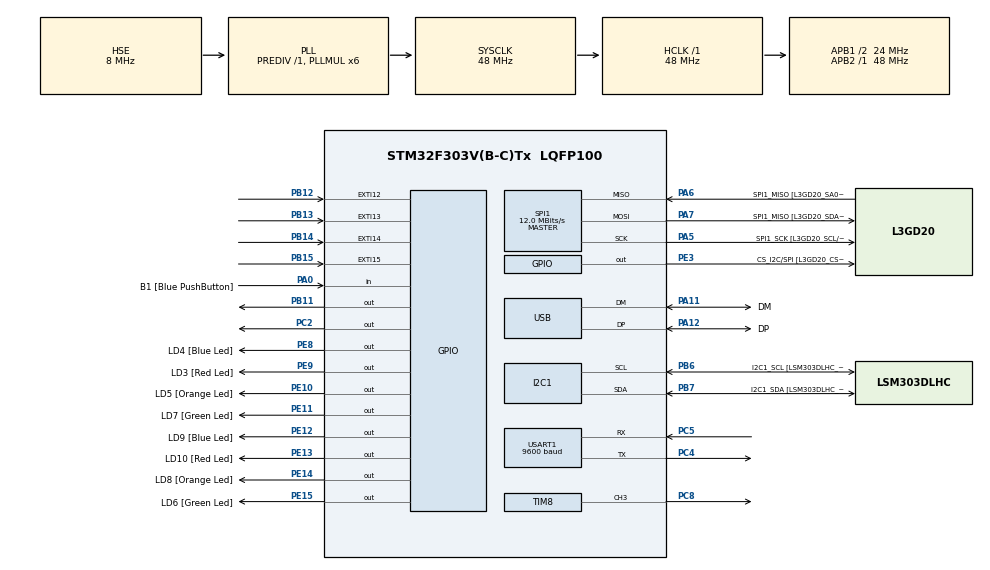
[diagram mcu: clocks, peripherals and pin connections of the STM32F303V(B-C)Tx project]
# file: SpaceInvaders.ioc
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I2C1.Timing-I2C=0x2000090E
Mcu.Family=STM32F3
Mcu.Name=STM32F303V(B-C)Tx
Mcu.Package=LQFP100
NVIC.EXTI15_10_IRQn=true\:0\:0\:true\:false\:true\:true\:true\:true
NVIC.PriorityGroup=NVIC_PRIORITYGROUP_1
NVIC.TIM2_IRQn=true\:1\:0\:true\:false\:true\:true\:true\:true
NVIC.USART1_IRQn=true\:0\:0\:true\:false\:true\:true\:true\:true
PA0.GPIO_Label=B1 [Blue PushButton]
PA0.Signal=GPIO_Input
PA11.GPIO_Label=DM
PA11.Mode=Device
PA11.Signal=USB_DM
PA12.GPIO_Label=DP
PA12.Mode=Device
PA12.Signal=USB_DP
PA13.GPIO_Label=SWDIO
PA13.Mode=Serial_Wire
PA13.Signal=SYS_JTMS-SWDIO
PA14.GPIO_Label=SWCLK
PA14.Mode=Serial_Wire
PA14.Signal=SYS_JTCK-SWCLK
PA5.GPIO_Label=SPI1_SCK [L3GD20_SCL/SPC]
PA5.Mode=Full_Duplex_Master
PA5.Signal=SPI1_SCK
PA6.GPIO_Label=SPI1_MISO [L3GD20_SA0/SDO]
PA6.Mode=Full_Duplex_Master
PA6.Signal=SPI1_MISO
PA7.GPIO_Label=SPI1_MISO [L3GD20_SDA/SDI/SDO]
PA7.Mode=Full_Duplex_Master
PA7.Signal=SPI1_MOSI
PB11.Signal=GPIO_Output
PB12.GPIO_ModeDefaultEXTI=GPIO_MODE_IT_RISING
PB12.GPIO_PuPd=GPIO_PULLDOWN
PB12.Signal=GPXTI12
PB13.GPIO_ModeDefaultEXTI=GPIO_MODE_IT_RISING
PB13.GPIO_PuPd=GPIO_PULLDOWN
PB13.Signal=GPXTI13
PB14.GPIO_ModeDefaultEXTI=GPIO_MODE_IT_RISING
PB14.GPIO_PuPd=GPIO_PULLDOWN
PB14.Signal=GPXTI14
PB15.GPIO_ModeDefaultEXTI=GPIO_MODE_IT_RISING
PB15.GPIO_PuPd=GPIO_PULLDOWN
PB15.Signal=GPXTI15
PB3.GPIO_Label=SWO
PB3.Signal=SYS_JTDO-TRACESWO
PB6.GPIO_Label=I2C1_SCL [LSM303DLHC_SCL]
PB6.GPIO_Pu=GPIO_PULLUP
PB6.Mode=I2C
PB6.Signal=I2C1_SCL
PB7.GPIO_Label=I2C1_SDA [LSM303DLHC_SDA]
PB7.GPIO_Pu=GPIO_PULLUP
PB7.Mode=I2C
PB7.Signal=I2C1_SDA
PC14-OSC32_IN.GPIO_Label=OSC32_IN
PC14-OSC32_IN.Signal=RCC_OSC32_IN
PC15-OSC32_OUT.GPIO_Label=OSC32_OUT
PC15-OSC32_OUT.Signal=RCC_OSC32_OUT
PC2.Signal=GPIO_Output
PC4.Mode=Asynchronous
PC4.Signal=USART1_TX
PC5.Mode=Asynchronous
PC5.Signal=USART1_RX
PC8.Signal=S_TIM8_CH3
PE10.GPIO_Label=LD5 [Orange Led]
PE10.Signal=GPIO_Output
PE11.GPIO_Label=LD7 [Green Led]
PE11.Signal=GPIO_Output
PE12.GPIO_Label=LD9 [Blue Led]
PE12.Signal=GPIO_Output
PE13.GPIO_Label=LD10 [Red Led]
PE13.Signal=GPIO_Output
PE14.GPIO_Label=LD8 [Orange Led]
PE14.Signal=GPIO_Output
PE15.GPIO_Label=LD6 [Green Led]
PE15.Signal=GPIO_Output
PE3.GPIO_Label=CS_I2C/SPI [L3GD20_CS_I2C/SPI]
PE3.Signal=GPIO_Output
PE8.GPIO_Label=LD4 [Blue Led]
PE8.Signal=GPIO_Output
PE9.GPIO_Label=LD3 [Red Led]
PE9.Signal=GPIO_Output
PF0-OSC_IN.GPIO_Label=OSC_IN
PF0-OSC_IN.Mode=HSE-External-Clock-Source
PF0-OSC_IN.Signal=RCC_OSC_IN
PF1-OSC_OUT.GPIO_Label=OSC_OUT
PF1-OSC_OUT.Signal=RCC_OSC_OUT
ProjectManager.HeapSize=0x200
ProjectManager.StackSize=0x400
ProjectManager.TargetToolchain=STM32CubeIDE
RCC.AHBFreq_Value=48000000
RCC.APB1CLKDivider=RCC_HCLK_DIV2
RCC.APB1Freq_Value=24000000
RCC.APB1TimFreq_Value=48000000
RCC.APB2Freq_Value=48000000
RCC.APB2TimFreq_Value=48000000
RCC.CortexFreq_Value=48000000
RCC.HCLKFreq_Value=48000000
RCC.HSE_VALUE=8000000
RCC.HSI_VALUE=8000000
RCC.LSE_VALUE=32768
RCC.PLLMUL=RCC_PLL_MUL6
RCC.SYSCLKFreq_VALUE=48000000
RCC.SYSCLKSourceVirtual=RCC_SYSCLKSOURCE_PLLCLK
RCC.USBFreq_Value=48000000
RTC.AsynchPrediv=39
RTC.Format=RTC_FORMAT_BIN
RTC.SynchPrediv=999
RTC.WeekDay=RTC_WEEKDAY_SATURDAY
SH.S_TIM8_CH3.0=TIM8_CH3,PWM Generation3 CH3
SPI1.BaudRatePrescaler=SPI_BAUDRATEPRESCALER_4
SPI1.BaudRatePrescaler-Full_Duplex_Master=SPI_BAUDRATEPRESCALER_2
SPI1.CalculateBaudRate=12.0 MBits/s
SPI1.CalculateBaudRate-Full_Duplex_Master=24.0 MBits/s
SPI1.Direction=SPI_DIRECTION_2LINES
SPI1.Mode=SPI_MODE_MASTER
SPI1.Mode-Full_Duplex_Master=SPI_MODE_MASTER
SPI1.VirtualType=VM_MASTER
TIM2.Period=2399
TIM2.Prescaler=9999
TIM8.Channel-PWM\ Generation3\ CH3=TIM_CHANNEL_3
TIM8.Period=11
TIM8.Prescaler=9999
USART1.BaudRate=9600
USART1.VirtualMode-Asynchronous=VM_ASYNC
VP_RTC_VS_RTC_Activate.Mode=RTC_Enabled
VP_RTC_VS_RTC_Calendar.Mode=RTC_Calendar
VP_TIM2_VS_ClockSourceINT.Mode=Internal
VP_TIM8_VS_ClockSourceINT.Mode=Internal
board=STM32F3DISCOVERY

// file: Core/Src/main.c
/* USER CODE BEGIN Header */
/**
  ******************************************************************************
  * @file           : main.c
  * @brief          : Main program body
  ******************************************************************************
  * @attention
  *
  * Copyright (c) 2023 STMicroelectronics.
  * All rights reserved.
  *
  * This software is licensed under terms that can be found in the LICENSE file
  * in the root directory of this software component.
  * If no LICENSE file comes with this software, it is provided AS-IS.
  *
  ******************************************************************************
  */
/* USER CODE END Header */
#include "main.h"

/* USER CODE BEGIN Includes */
#include "LCD.h"
#include "UART.h"
#include "Keypad.h"
#include "RTC.h"
#include "Buzzer.h"
/* USER CODE END Includes */

I2C_HandleTypeDef hi2c1;

RTC_HandleTypeDef hrtc;

SPI_HandleTypeDef hspi1;

TIM_HandleTypeDef htim2;
TIM_HandleTypeDef htim8;

UART_HandleTypeDef huart1;

PCD_HandleTypeDef hpcd_USB_FS;

void SystemClock_Config(void);
static void MX_GPIO_Init(void);
static void MX_I2C1_Init(void);
static void MX_SPI1_Init(void);
static void MX_USB_PCD_Init(void);
static void MX_TIM2_Init(void);
static void MX_USART1_UART_Init(void);
static void MX_RTC_Init(void);
static void MX_TIM8_Init(void);

/* USER CODE BEGIN 0 */
void HAL_UART_RxCpltCallback(UART_HandleTypeDef *huart) {
  UART_OnCallback();
}

void HAL_GPIO_EXTI_Callback(uint16_t GPIO_Pin) {
  Keypad_OnInterrupt(GPIO_Pin);
}
/* USER CODE END 0 */

int main(void)
{

  /* MCU Configuration--------------------------------------------------------*/

  /* Reset of all peripherals, Initializes the Flash interface and the Systick. */
  HAL_Init();

  /* Configure the system clock */
  SystemClock_Config();

  /* Initialize all configured peripherals */
  MX_GPIO_Init();
  MX_I2C1_Init();
  MX_SPI1_Init();
  MX_USB_PCD_Init();
  MX_TIM2_Init();
  MX_USART1_UART_Init();
  MX_RTC_Init();
  MX_TIM8_Init();
  /* USER CODE BEGIN 2 */
  LCD_Init();
  Keypad_Init();
  RTC_Init();
  UART_Init();
  BuzzerInit();
  HAL_TIM_Base_Start_IT(&htim2);
  /* USER CODE END 2 */

  /* Infinite loop */
  while (1)
  {

  }
}

void SystemClock_Config(void)
{
  RCC_OscInitTypeDef RCC_OscInitStruct = {0};
  RCC_ClkInitTypeDef RCC_ClkInitStruct = {0};
  RCC_PeriphCLKInitTypeDef PeriphClkInit = {0};

  /** Initializes the RCC Oscillators according to the specified parameters
  * in the RCC_OscInitTypeDef structure.
  */
  RCC_OscInitStruct.OscillatorType = RCC_OSCILLATORTYPE_HSI|RCC_OSCILLATORTYPE_LSI
                              |RCC_OSCILLATORTYPE_HSE;
  RCC_OscInitStruct.HSEState = RCC_HSE_BYPASS;
  RCC_OscInitStruct.HSEPredivValue = RCC_HSE_PREDIV_DIV1;
  RCC_OscInitStruct.HSIState = RCC_HSI_ON;
  RCC_OscInitStruct.HSICalibrationValue = RCC_HSICALIBRATION_DEFAULT;
  RCC_OscInitStruct.LSIState = RCC_LSI_ON;
  RCC_OscInitStruct.PLL.PLLState = RCC_PLL_ON;
  RCC_OscInitStruct.PLL.PLLSource = RCC_PLLSOURCE_HSE;
  RCC_OscInitStruct.PLL.PLLMUL = RCC_PLL_MUL6;
  if (HAL_RCC_OscConfig(&RCC_OscInitStruct) != HAL_OK)
  {
    Error_Handler();
  }

  /** Initializes the CPU, AHB and APB buses clocks
  */
  RCC_ClkInitStruct.ClockType = RCC_CLOCKTYPE_HCLK|RCC_CLOCKTYPE_SYSCLK
                              |RCC_CLOCKTYPE_PCLK1|RCC_CLOCKTYPE_PCLK2;
  RCC_ClkInitStruct.SYSCLKSource = RCC_SYSCLKSOURCE_PLLCLK;
  RCC_ClkInitStruct.AHBCLKDivider = RCC_SYSCLK_DIV1;
  RCC_ClkInitStruct.APB1CLKDivider = RCC_HCLK_DIV2;
  RCC_ClkInitStruct.APB2CLKDivider = RCC_HCLK_DIV1;

  if (HAL_RCC_ClockConfig(&RCC_ClkInitStruct, FLASH_LATENCY_1) != HAL_OK)
  {
    Error_Handler();
  }
  PeriphClkInit.PeriphClockSelection = RCC_PERIPHCLK_USB|RCC_PERIPHCLK_USART1
                              |RCC_PERIPHCLK_I2C1|RCC_PERIPHCLK_RTC
                              |RCC_PERIPHCLK_TIM8;
  PeriphClkInit.Usart1ClockSelection = RCC_USART1CLKSOURCE_PCLK2;
  PeriphClkInit.I2c1ClockSelection = RCC_I2C1CLKSOURCE_HSI;
  PeriphClkInit.RTCClockSelection = RCC_RTCCLKSOURCE_LSI;
  PeriphClkInit.USBClockSelection = RCC_USBCLKSOURCE_PLL;
  PeriphClkInit.Tim8ClockSelection = RCC_TIM8CLK_HCLK;
  if (HAL_RCCEx_PeriphCLKConfig(&PeriphClkInit) != HAL_OK)
  {
    Error_Handler();
  }
}

static void MX_I2C1_Init(void)
{

  hi2c1.Instance = I2C1;
  hi2c1.Init.Timing = 0x2000090E;
  hi2c1.Init.OwnAddress1 = 0;
  hi2c1.Init.AddressingMode = I2C_ADDRESSINGMODE_7BIT;
  hi2c1.Init.DualAddressMode = I2C_DUALADDRESS_DISABLE;
  hi2c1.Init.OwnAddress2 = 0;
  hi2c1.Init.OwnAddress2Masks = I2C_OA2_NOMASK;
  hi2c1.Init.GeneralCallMode = I2C_GENERALCALL_DISABLE;
  hi2c1.Init.NoStretchMode = I2C_NOSTRETCH_DISABLE;
  if (HAL_I2C_Init(&hi2c1) != HAL_OK)
  {
    Error_Handler();
  }

  /** Configure Analogue filter
  */
  if (HAL_I2CEx_ConfigAnalogFilter(&hi2c1, I2C_ANALOGFILTER_ENABLE) != HAL_OK)
  {
    Error_Handler();
  }

  /** Configure Digital filter
  */
  if (HAL_I2CEx_ConfigDigitalFilter(&hi2c1, 0) != HAL_OK)
  {
    Error_Handler();
  }

}

static void MX_RTC_Init(void)
{

  RTC_TimeTypeDef sTime = {0};
  RTC_DateTypeDef sDate = {0};

  /** Initialize RTC Only
  */
  hrtc.Instance = RTC;
  hrtc.Init.HourFormat = RTC_HOURFORMAT_24;
  hrtc.Init.AsynchPrediv = 39;
  hrtc.Init.SynchPrediv = 999;
  hrtc.Init.OutPut = RTC_OUTPUT_DISABLE;
  hrtc.Init.OutPutPolarity = RTC_OUTPUT_POLARITY_HIGH;
  hrtc.Init.OutPutType = RTC_OUTPUT_TYPE_OPENDRAIN;
  if (HAL_RTC_Init(&hrtc) != HAL_OK)
  {
    Error_Handler();
  }

  /** Initialize RTC and set the Time and Date
  */
  sTime.Hours = 0;
  sTime.Minutes = 0;
  sTime.Seconds = 0;
  sTime.DayLightSaving = RTC_DAYLIGHTSAVING_NONE;
  sTime.StoreOperation = RTC_STOREOPERATION_RESET;
  if (HAL_RTC_SetTime(&hrtc, &sTime, RTC_FORMAT_BIN) != HAL_OK)
  {
    Error_Handler();
  }
  sDate.WeekDay = RTC_WEEKDAY_SATURDAY;
  sDate.Month = RTC_MONTH_JANUARY;
  sDate.Date = 1;
  sDate.Year = 0;

  if (HAL_RTC_SetDate(&hrtc, &sDate, RTC_FORMAT_BIN) != HAL_OK)
  {
    Error_Handler();
  }

}

static void MX_SPI1_Init(void)
{

  /* SPI1 parameter configuration*/
  hspi1.Instance = SPI1;
  hspi1.Init.Mode = SPI_MODE_MASTER;
  hspi1.Init.Direction = SPI_DIRECTION_2LINES;
  hspi1.Init.DataSize = SPI_DATASIZE_4BIT;
  hspi1.Init.CLKPolarity = SPI_POLARITY_LOW;
  hspi1.Init.CLKPhase = SPI_PHASE_1EDGE;
  hspi1.Init.NSS = SPI_NSS_SOFT;
  hspi1.Init.BaudRatePrescaler = SPI_BAUDRATEPRESCALER_4;
  hspi1.Init.FirstBit = SPI_FIRSTBIT_MSB;
  hspi1.Init.TIMode = SPI_TIMODE_DISABLE;
  hspi1.Init.CRCCalculation = SPI_CRCCALCULATION_DISABLE;
  hspi1.Init.CRCPolynomial = 7;
  hspi1.Init.CRCLength = SPI_CRC_LENGTH_DATASIZE;
  hspi1.Init.NSSPMode = SPI_NSS_PULSE_ENABLE;
  if (HAL_SPI_Init(&hspi1) != HAL_OK)
  {
    Error_Handler();
  }

}

static void MX_TIM2_Init(void)
{

  TIM_ClockConfigTypeDef sClockSourceConfig = {0};
  TIM_MasterConfigTypeDef sMasterConfig = {0};

  htim2.Instance = TIM2;
  htim2.Init.Prescaler = 9999;
  htim2.Init.CounterMode = TIM_COUNTERMODE_UP;
  htim2.Init.Period = 2399;
  htim2.Init.ClockDivision = TIM_CLOCKDIVISION_DIV1;
  htim2.Init.AutoReloadPreload = TIM_AUTORELOAD_PRELOAD_DISABLE;
  if (HAL_TIM_Base_Init(&htim2) != HAL_OK)
  {
    Error_Handler();
  }
  sClockSourceConfig.ClockSource = TIM_CLOCKSOURCE_INTERNAL;
  if (HAL_TIM_ConfigClockSource(&htim2, &sClockSourceConfig) != HAL_OK)
  {
    Error_Handler();
  }
  sMasterConfig.MasterOutputTrigger = TIM_TRGO_RESET;
  sMasterConfig.MasterSlaveMode = TIM_MASTERSLAVEMODE_DISABLE;
  if (HAL_TIMEx_MasterConfigSynchronization(&htim2, &sMasterConfig) != HAL_OK)
  {
    Error_Handler();
  }

}

static void MX_TIM8_Init(void)
{

  TIM_ClockConfigTypeDef sClockSourceConfig = {0};
  TIM_MasterConfigTypeDef sMasterConfig = {0};
  TIM_OC_InitTypeDef sConfigOC = {0};
  TIM_BreakDeadTimeConfigTypeDef sBreakDeadTimeConfig = {0};

  htim8.Instance = TIM8;
  htim8.Init.Prescaler = 9999;
  htim8.Init.CounterMode = TIM_COUNTERMODE_UP;
  htim8.Init.Period = 11;
  htim8.Init.ClockDivision = TIM_CLOCKDIVISION_DIV1;
  htim8.Init.RepetitionCounter = 0;
  htim8.Init.AutoReloadPreload = TIM_AUTORELOAD_PRELOAD_DISABLE;
  if (HAL_TIM_Base_Init(&htim8) != HAL_OK)
  {
    Error_Handler();
  }
  sClockSourceConfig.ClockSource = TIM_CLOCKSOURCE_INTERNAL;
  if (HAL_TIM_ConfigClockSource(&htim8, &sClockSourceConfig) != HAL_OK)
  {
    Error_Handler();
  }
  if (HAL_TIM_PWM_Init(&htim8) != HAL_OK)
  {
    Error_Handler();
  }
  sMasterConfig.MasterOutputTrigger = TIM_TRGO_RESET;
  sMasterConfig.MasterOutputTrigger2 = TIM_TRGO2_RESET;
  sMasterConfig.MasterSlaveMode = TIM_MASTERSLAVEMODE_DISABLE;
  if (HAL_TIMEx_MasterConfigSynchronization(&htim8, &sMasterConfig) != HAL_OK)
  {
    Error_Handler();
  }
  sConfigOC.OCMode = TIM_OCMODE_PWM1;
  sConfigOC.Pulse = 0;
  sConfigOC.OCPolarity = TIM_OCPOLARITY_HIGH;
  sConfigOC.OCNPolarity = TIM_OCNPOLARITY_HIGH;
  sConfigOC.OCFastMode = TIM_OCFAST_DISABLE;
  sConfigOC.OCIdleState = TIM_OCIDLESTATE_RESET;
  sConfigOC.OCNIdleState = TIM_OCNIDLESTATE_RESET;
  if (HAL_TIM_PWM_ConfigChannel(&htim8, &sConfigOC, TIM_CHANNEL_3) != HAL_OK)
  {
    Error_Handler();
  }
  sBreakDeadTimeConfig.OffStateRunMode = TIM_OSSR_DISABLE;
  sBreakDeadTimeConfig.OffStateIDLEMode = TIM_OSSI_DISABLE;
  sBreakDeadTimeConfig.LockLevel = TIM_LOCKLEVEL_OFF;
  sBreakDeadTimeConfig.DeadTime = 0;
  sBreakDeadTimeConfig.BreakState = TIM_BREAK_DISABLE;
  sBreakDeadTimeConfig.BreakPolarity = TIM_BREAKPOLARITY_HIGH;
  sBreakDeadTimeConfig.BreakFilter = 0;
  sBreakDeadTimeConfig.Break2State = TIM_BREAK2_DISABLE;
  sBreakDeadTimeConfig.Break2Polarity = TIM_BREAK2POLARITY_HIGH;
  sBreakDeadTimeConfig.Break2Filter = 0;
  sBreakDeadTimeConfig.AutomaticOutput = TIM_AUTOMATICOUTPUT_DISABLE;
  if (HAL_TIMEx_ConfigBreakDeadTime(&htim8, &sBreakDeadTimeConfig) != HAL_OK)
  {
    Error_Handler();
  }
  HAL_TIM_MspPostInit(&htim8);

}

static void MX_USART1_UART_Init(void)
{

  huart1.Instance = USART1;
  huart1.Init.BaudRate = 9600;
  huart1.Init.WordLength = UART_WORDLENGTH_8B;
  huart1.Init.StopBits = UART_STOPBITS_1;
  huart1.Init.Parity = UART_PARITY_NONE;
  huart1.Init.Mode = UART_MODE_TX_RX;
  huart1.Init.HwFlowCtl = UART_HWCONTROL_NONE;
  huart1.Init.OverSampling = UART_OVERSAMPLING_16;
  huart1.Init.OneBitSampling = UART_ONE_BIT_SAMPLE_DISABLE;
  huart1.AdvancedInit.AdvFeatureInit = UART_ADVFEATURE_NO_INIT;
  if (HAL_UART_Init(&huart1) != HAL_OK)
  {
    Error_Handler();
  }

}

static void MX_USB_PCD_Init(void)
{

  hpcd_USB_FS.Instance = USB;
  hpcd_USB_FS.Init.dev_endpoints = 8;
  hpcd_USB_FS.Init.speed = PCD_SPEED_FULL;
  hpcd_USB_FS.Init.phy_itface = PCD_PHY_EMBEDDED;
  hpcd_USB_FS.Init.low_power_enable = DISABLE;
  hpcd_USB_FS.Init.battery_charging_enable = DISABLE;
  if (HAL_PCD_Init(&hpcd_USB_FS) != HAL_OK)
  {
    Error_Handler();
  }

}

static void MX_GPIO_Init(void)
{
  GPIO_InitTypeDef GPIO_InitStruct = {0};

  /* GPIO Ports Clock Enable */
  __HAL_RCC_GPIOE_CLK_ENABLE();
  __HAL_RCC_GPIOC_CLK_ENABLE();
  __HAL_RCC_GPIOF_CLK_ENABLE();
  __HAL_RCC_GPIOA_CLK_ENABLE();
  __HAL_RCC_GPIOB_CLK_ENABLE();

  /*Configure GPIO pin Output Level */
  HAL_GPIO_WritePin(GPIOE, CS_I2C_SPI_Pin|LD4_Pin|LD3_Pin|LD5_Pin
                          |LD7_Pin|LD9_Pin|LD10_Pin|LD8_Pin
                          |LD6_Pin, GPIO_PIN_RESET);

  /*Configure GPIO pin Output Level */
  HAL_GPIO_WritePin(GPIOC, GPIO_PIN_2, GPIO_PIN_RESET);

  /*Configure GPIO pin Output Level */
  HAL_GPIO_WritePin(GPIOB, GPIO_PIN_11, GPIO_PIN_RESET);

  /*Configure GPIO pins : CS_I2C_SPI_Pin LD4_Pin LD3_Pin LD5_Pin
                           LD7_Pin LD9_Pin LD10_Pin LD8_Pin
                           LD6_Pin */
  GPIO_InitStruct.Pin = CS_I2C_SPI_Pin|LD4_Pin|LD3_Pin|LD5_Pin
                          |LD7_Pin|LD9_Pin|LD10_Pin|LD8_Pin
                          |LD6_Pin;
  GPIO_InitStruct.Mode = GPIO_MODE_OUTPUT_PP;
  GPIO_InitStruct.Pull = GPIO_NOPULL;
  GPIO_InitStruct.Speed = GPIO_SPEED_FREQ_LOW;
  HAL_GPIO_Init(GPIOE, &GPIO_InitStruct);

  /*Configure GPIO pin : PC2 */
  GPIO_InitStruct.Pin = GPIO_PIN_2;
  GPIO_InitStruct.Mode = GPIO_MODE_OUTPUT_PP;
  GPIO_InitStruct.Pull = GPIO_NOPULL;
  GPIO_InitStruct.Speed = GPIO_SPEED_FREQ_LOW;
  HAL_GPIO_Init(GPIOC, &GPIO_InitStruct);

  /*Configure GPIO pin : B1_Pin */
  GPIO_InitStruct.Pin = B1_Pin;
  GPIO_InitStruct.Mode = GPIO_MODE_INPUT;
  GPIO_InitStruct.Pull = GPIO_NOPULL;
  HAL_GPIO_Init(B1_GPIO_Port, &GPIO_InitStruct);

  /*Configure GPIO pin : PB11 */
  GPIO_InitStruct.Pin = GPIO_PIN_11;
  GPIO_InitStruct.Mode = GPIO_MODE_OUTPUT_PP;
  GPIO_InitStruct.Pull = GPIO_NOPULL;
  GPIO_InitStruct.Speed = GPIO_SPEED_FREQ_LOW;
  HAL_GPIO_Init(GPIOB, &GPIO_InitStruct);

  /*Configure GPIO pins : PB12 PB13 PB14 PB15 */
  GPIO_InitStruct.Pin = GPIO_PIN_12|GPIO_PIN_13|GPIO_PIN_14|GPIO_PIN_15;
  GPIO_InitStruct.Mode = GPIO_MODE_IT_RISING;
  GPIO_InitStruct.Pull = GPIO_PULLDOWN;
  HAL_GPIO_Init(GPIOB, &GPIO_InitStruct);

  /* EXTI interrupt init*/
  HAL_NVIC_SetPriority(EXTI15_10_IRQn, 0, 0);
  HAL_NVIC_EnableIRQ(EXTI15_10_IRQn);

}

void Error_Handler(void)
{
  __disable_irq();
  while (1)
  {
  }
}
